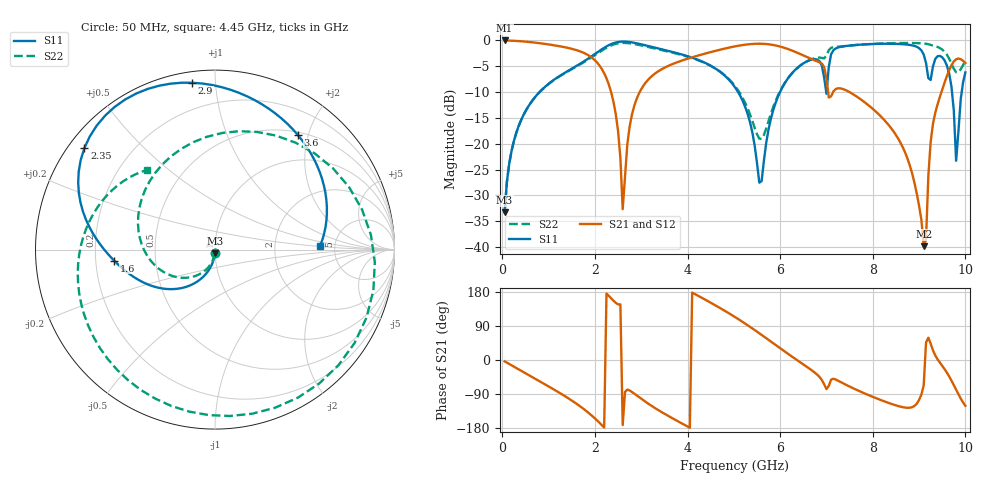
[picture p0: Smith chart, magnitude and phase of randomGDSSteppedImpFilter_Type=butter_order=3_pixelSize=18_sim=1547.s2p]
! freq	dB(S11)	phase(S11)	dB(S12)	phase(S12)
!  dB(S21)	phase(S21)	dB(S22)	phase(S22)
!S-par simulation data
#  GHz  S  DB  R 50
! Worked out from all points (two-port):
!   200 points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, 50 MHz to 10 GHz, reference 50 ohm
!   highest |S21| = -0.01 dB at 50 MHz (marker M1); lowest = -39.8 dB at 9.1 GHz (marker M2)
!   |S21| within 3 dB of the highest: start of sweep to 1.882 GHz; 4.198 GHz to 6.525 GHz (2.328 GHz wide, 43.4 % of centre)
!   lowest |S11| = -33.3 dB at 50 MHz (marker M3), VSWR 1.04, Z = 49.9 - j2.16 ohm
!   |S11| at or under -10 dB: start of sweep to 803.6 MHz; 5.091 GHz to 5.997 GHz (905.7 MHz wide, 16.3 % of centre); 9.711 GHz to 9.921 GHz (209.7 MHz wide, 2.14 % of centre) (the widest 3 of 4)
!   |S22| runs from -33.3 to -0.5 dB; largest |S21 - S12| = 0
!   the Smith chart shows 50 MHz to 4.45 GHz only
!   S11 on the Smith chart (normalised r, x): 50 MHz: 1.00, -0.04; 1.6 GHz: 0.28, -0.05; 2.35 GHz: 0.05, +0.34; 2.9 GHz: 0.06, +0.87; 3.6 GHz: 0.54, +1.83; 4.45 GHz: 3.81, +0.22
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0.05  -33.29 -92.7  -0.01 -3.6  -0.01 -3.6  -33.29 -93.8
0.45  -14.58 -116.6  -0.20 -31.4  -0.20 -31.4  -14.58 -127.4
1.6  -4.95 -173.8  -1.88 -115.2  -1.88 -115.2  -5.07 121.7
1.75  -4.13 179.5  -2.37 -128.5  -2.37 -128.5  -4.28 101.4
2.35  -0.71 142.2  -10.00 162.7  -10.00 162.7  -0.98 -4.5
2.6  -0.22 120.9  -32.66 -171.7  -32.66 -171.7  -0.49 -52.1
2.9  -0.55 97.7  -11.34 -93.3  -11.34 -93.3  -0.78 -99.0
3.4  -1.62 66.0  -5.80 -134.5  -5.80 -134.5  -1.79 -153.5
3.6  -2.06 54.3  -4.86 -148.7  -4.86 -148.7  -2.20 -170.3
4.45  -4.65 1.9  -2.38 154.6  -2.38 154.6  -4.69 130.4
5.05  -9.40 -42.9  -1.11 111.5  -1.11 111.5  -9.12 94.3
5.55  -27.53 -144.1  -0.64 70.5  -0.64 70.5  -19.00 115.0
5.95  -10.96 76.2  -1.07 35.4  -1.07 35.4  -10.71 158.6
6.7  -3.67 7.5  -3.71 -28.7  -3.71 -28.7  -3.56 111.0
7.05  -5.12 27.1  -11.04 -68.2  -11.04 -68.2  -1.88 98.0
7.35  -1.18 -15.9  -9.39 -60.9  -9.39 -60.9  -1.12 71.7
8.35  -0.65 -73.2  -16.45 -113.6  -16.45 -113.6  -0.55 16.2
9.1  -2.74 -129.5  -39.82 -67.0  -39.82 -67.0  -0.59 -22.7
9.3  -5.02 -101.8  -16.14 25.5  -16.14 25.5  -0.99 -34.3
9.65  -6.43 -166.3  -5.77 -43.3  -5.77 -43.3  -3.53 -56.0
9.8  -23.30 108.0  -3.64 -78.7  -3.64 -78.7  -6.16 -47.8
10  -6.19 -55.0  -4.38 -120.9  -4.38 -120.9  -4.03 -32.4
